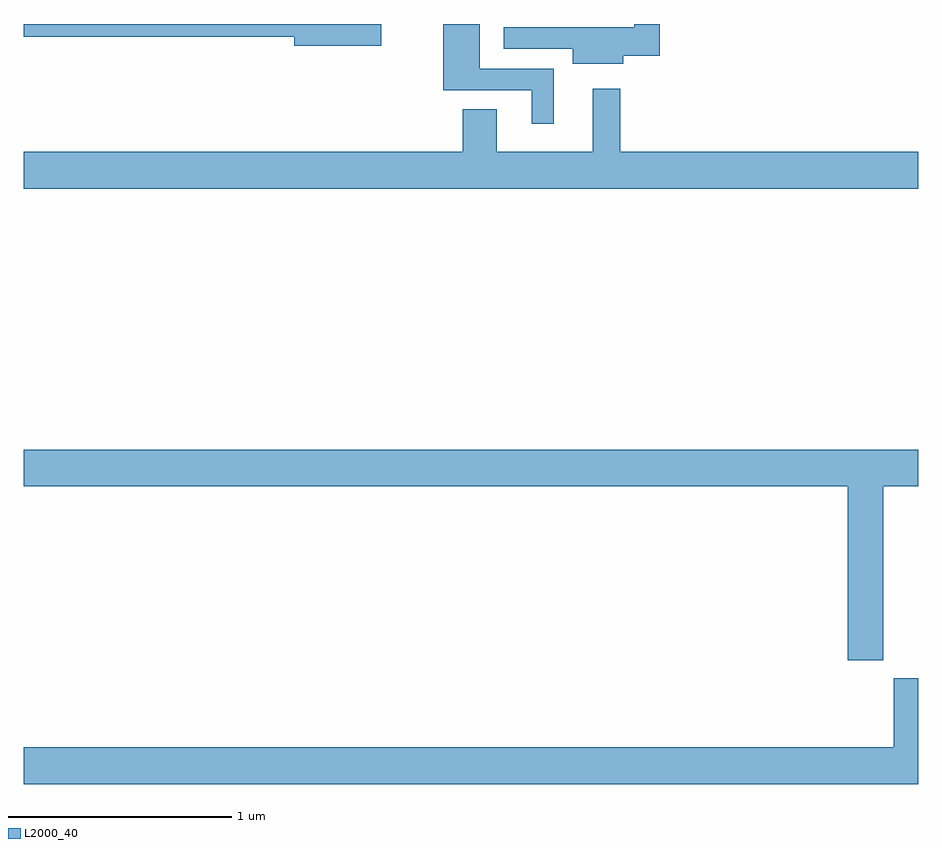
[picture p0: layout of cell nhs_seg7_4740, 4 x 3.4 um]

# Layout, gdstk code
import gdstk
lib = gdstk.Library(unit=1e-6, precision=1e-09)
def P(c, l, *ps):  # polygons
    for p in ps: c.add(gdstk.Polygon(p, *l))
L2000_40 = (2000, 40)

nhs_seg7_4740 = lib.new_cell('nhs_seg7_4740')
P(nhs_seg7_4740, L2000_40, [(411.37,1019.799),(411.04,1019.799),(411.04,1020),(410.876,1020),(410.876,1019.703),(411.272,1019.703),(411.272,1019.553),(411.37,1019.553)],
  [(410.599,1020),(409,1020),(409,1019.944),(410.21,1019.944),(410.21,1019.902),(410.599,1019.902)],
  [(411.682,1019.857),(411.844,1019.857),(411.844,1019.999),(411.731,1019.999),(411.731,1019.986),(411.459,1019.986),(411.459,1019.985),(411.147,1019.985),(411.147,1019.889),(411.455,1019.889),(411.455,1019.822),(411.682,1019.822)],
  [(413,1019.428),(411.667,1019.428),(411.667,1019.71),(411.545,1019.71),(411.545,1019.428),(411.115,1019.428),(411.115,1019.618),(410.963,1019.618),(410.963,1019.428),(409,1019.428),(409,1019.264),(413,1019.264)],
  [(412.845,1017.932),(413,1017.932),(413,1018.096),(409,1018.096),(409,1017.932),(412.685,1017.932),(412.685,1017.153),(412.845,1017.153)],
  [(413,1017.073),(412.892,1017.073),(412.892,1016.764),(409,1016.764),(409,1016.6),(413,1016.6)])

lib.write_gds('nhs_seg7_4740.gds')
